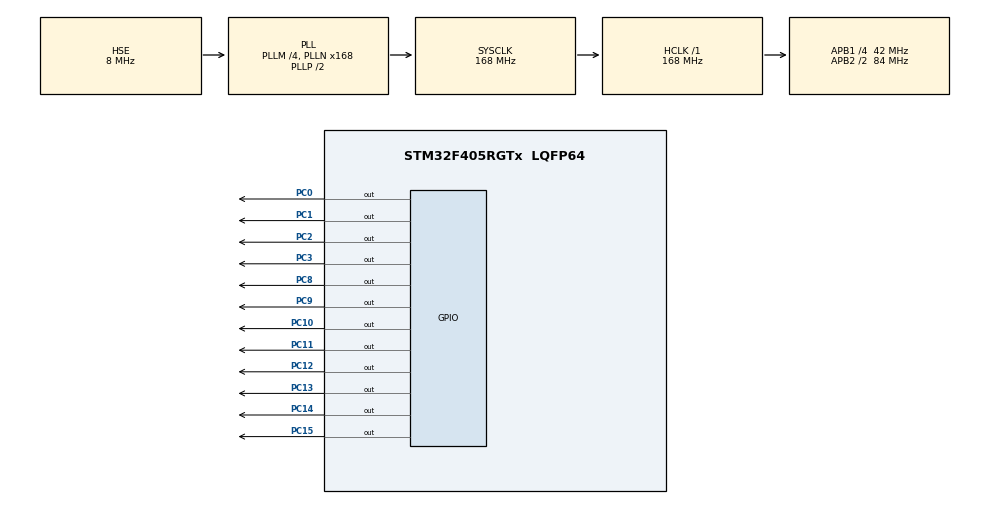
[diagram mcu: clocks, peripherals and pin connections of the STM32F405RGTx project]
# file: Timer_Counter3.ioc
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Mcu.Family=STM32F4
Mcu.Name=STM32F405RGTx
Mcu.Package=LQFP64
NVIC.PriorityGroup=NVIC_PRIORITYGROUP_4
NVIC.TIM1_BRK_TIM9_IRQn=true\:0\:0\:false\:false\:true\:true\:true
NVIC.TIM1_UP_TIM10_IRQn=true\:0\:0\:false\:false\:true\:true\:true
PA13.Mode=Serial_Wire
PA13.Signal=SYS_JTMS-SWDIO
PA14.Mode=Serial_Wire
PA14.Signal=SYS_JTCK-SWCLK
PC0.Signal=GPIO_Output
PC1.Signal=GPIO_Output
PC10.Signal=GPIO_Output
PC11.Signal=GPIO_Output
PC12.Signal=GPIO_Output
PC13-ANTI_TAMP.Signal=GPIO_Output
PC14-OSC32_IN.Signal=GPIO_Output
PC15-OSC32_OUT.Signal=GPIO_Output
PC2.Signal=GPIO_Output
PC3.Signal=GPIO_Output
PC8.Signal=GPIO_Output
PC9.Signal=GPIO_Output
PH0-OSC_IN.Mode=HSE-External-Oscillator
PH0-OSC_IN.Signal=RCC_OSC_IN
PH1-OSC_OUT.Mode=HSE-External-Oscillator
PH1-OSC_OUT.Signal=RCC_OSC_OUT
ProjectManager.HeapSize=0x200
ProjectManager.StackSize=0x400
ProjectManager.TargetToolchain=EWARM V8.32
RCC.48MHZClocksFreq_Value=84000000
RCC.AHBFreq_Value=168000000
RCC.APB1CLKDivider=RCC_HCLK_DIV4
RCC.APB1Freq_Value=42000000
RCC.APB1TimFreq_Value=84000000
RCC.APB2CLKDivider=RCC_HCLK_DIV2
RCC.APB2Freq_Value=84000000
RCC.APB2TimFreq_Value=168000000
RCC.CortexFreq_Value=168000000
RCC.HCLKFreq_Value=168000000
RCC.HSE_VALUE=8000000
RCC.HSI_VALUE=16000000
RCC.LSE_VALUE=32768
RCC.PLLM=4
RCC.PLLN=168
RCC.PLLSourceVirtual=RCC_PLLSOURCE_HSE
RCC.SYSCLKFreq_VALUE=168000000
RCC.SYSCLKSource=RCC_SYSCLKSOURCE_PLLCLK
RCC.VCOOutputFreq_Value=336000000
VP_TIM10_VS_ClockSourceINT.Mode=Enable_Timer
VP_TIM9_VS_ClockSourceINT.Mode=Internal
board=custom

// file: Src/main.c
/* USER CODE BEGIN Header */
/**
  ******************************************************************************
  * @file           : main.c
  * @brief          : Main program body
  ******************************************************************************
  * @attention
  *
  * <h2><center>&copy; Copyright (c) 2020 STMicroelectronics.
  * All rights reserved.</center></h2>
  *
  * This software component is licensed by ST under BSD 3-Clause license,
  * the "License"; You may not use this file except in compliance with the
  * License. You may obtain a copy of the License at:
  *                        opensource.org/licenses/BSD-3-Clause
  *
  ******************************************************************************
  */
/* USER CODE END Header */

#include "main.h"
#include "tim.h"
#include "gpio.h"

/* USER CODE BEGIN PV */
unsigned int FND_DATA_TBL[]={0x3F00,0x0600,0x5B00,0x4F00,0x6600,0x6D00,0x7D00,0x0700,0x7F00,0x6F00,0x7700,0x7C00,0x3900,0x5E00,0x7900,0x7100,0x0800,0x8000};
int cnt=0;
unsigned int led[]={GPIO_PIN_0,GPIO_PIN_1,GPIO_PIN_2,GPIO_PIN_3};
unsigned int led_cnt0=0;
unsigned int led_cnt1=0;
/* USER CODE END PV */

void SystemClock_Config(void);

int main(void)
{

  /* MCU Configuration--------------------------------------------------------*/

  /* Reset of all peripherals, Initializes the Flash interface and the Systick. */
  HAL_Init();

  /* Configure the system clock */
  SystemClock_Config();

  /* Initialize all configured peripherals */
  MX_GPIO_Init();
  MX_TIM9_Init();
  MX_TIM10_Init();
  /* USER CODE BEGIN 2 */
  HAL_TIM_Base_Start_IT(&htim9); //TIM3 주소를 가지고 interrupt 시작한다.
  HAL_TIM_Base_Start_IT(&htim10); //TIM3 주소를 가지고 interrupt 시작한다.
  /* USER CODE END 2 */

  /* Infinite loop */
  while (1)
  {

  }
}

void SystemClock_Config(void)
{
  RCC_OscInitTypeDef RCC_OscInitStruct = {0};
  RCC_ClkInitTypeDef RCC_ClkInitStruct = {0};

  /** Configure the main internal regulator output voltage
  */
  __HAL_RCC_PWR_CLK_ENABLE();
  __HAL_PWR_VOLTAGESCALING_CONFIG(PWR_REGULATOR_VOLTAGE_SCALE1);
  /** Initializes the CPU, AHB and APB busses clocks
  */
  RCC_OscInitStruct.OscillatorType = RCC_OSCILLATORTYPE_HSE;
  RCC_OscInitStruct.HSEState = RCC_HSE_ON;
  RCC_OscInitStruct.PLL.PLLState = RCC_PLL_ON;
  RCC_OscInitStruct.PLL.PLLSource = RCC_PLLSOURCE_HSE;
  RCC_OscInitStruct.PLL.PLLM = 4;
  RCC_OscInitStruct.PLL.PLLN = 168;
  RCC_OscInitStruct.PLL.PLLP = RCC_PLLP_DIV2;
  RCC_OscInitStruct.PLL.PLLQ = 4;
  if (HAL_RCC_OscConfig(&RCC_OscInitStruct) != HAL_OK)
  {
    Error_Handler();
  }
  /** Initializes the CPU, AHB and APB busses clocks
  */
  RCC_ClkInitStruct.ClockType = RCC_CLOCKTYPE_HCLK|RCC_CLOCKTYPE_SYSCLK
                              |RCC_CLOCKTYPE_PCLK1|RCC_CLOCKTYPE_PCLK2;
  RCC_ClkInitStruct.SYSCLKSource = RCC_SYSCLKSOURCE_PLLCLK;
  RCC_ClkInitStruct.AHBCLKDivider = RCC_SYSCLK_DIV1;
  RCC_ClkInitStruct.APB1CLKDivider = RCC_HCLK_DIV4;
  RCC_ClkInitStruct.APB2CLKDivider = RCC_HCLK_DIV2;

  if (HAL_RCC_ClockConfig(&RCC_ClkInitStruct, FLASH_LATENCY_5) != HAL_OK)
  {
    Error_Handler();
  }
}

/* USER CODE BEGIN 4 */

void HAL_TIM_PeriodElapsedCallback(TIM_HandleTypeDef *htim)
{
  if(htim->Instance == TIM9)
  {
    if(led_cnt0==0)
    {
      HAL_GPIO_WritePin(GPIOC,GPIO_PIN_0,GPIO_PIN_SET);
      led_cnt0=1;
    }
    else if(led_cnt0==1)
    {
      HAL_GPIO_WritePin(GPIOC,GPIO_PIN_0,GPIO_PIN_RESET);
      led_cnt0=0;
    }

  }

  else if(htim->Instance == TIM10)
  {
    if(led_cnt1==0)
    {
      HAL_GPIO_WritePin(GPIOC,GPIO_PIN_1,GPIO_PIN_SET);
      led_cnt1=1;
    }
    else if(led_cnt1==1)
    {
      HAL_GPIO_WritePin(GPIOC,GPIO_PIN_1,GPIO_PIN_RESET);
      led_cnt1=0;
    }

  }

}

/* USER CODE END 4 */

void Error_Handler(void)
{
}

/************************ (C) COPYRIGHT STMicroelectronics *****END OF FILE****/
